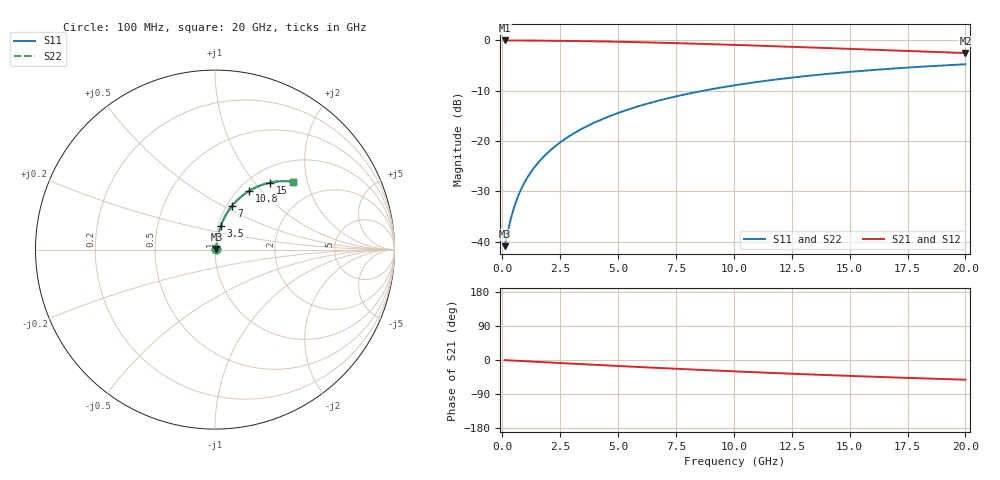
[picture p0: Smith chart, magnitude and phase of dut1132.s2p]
! Touchstone file exported from HFSS 2024.1.0
!  File:  C:/UserFiles/LocalFiles/RDL_TSV_Batchsim/temp_RDL_bottom_1132_1780055305.aedt
!  Generated:  07:50:42 PM May 29, 2026
!  Design:  RDL_bottom
!  Project:  temp_RDL_bottom_1132_1780055305
!  Setup:  Setup1
!  Solution:  Sweep
! Variables:
!  dtsv = 10.80580581um
!  hbump = 3um
!  htsv = 58.58um
!  ldown = 663.97um
!  lrdl = 100um
!  p = 40
!  p1 = 53.54um
!  rhole = 1um
!  t = 450um
!  tdown = 2.59um
!  trdl = 3.915915916um
!  wdown = 11.1um
!  wrdl = 20um
# GHz S MA R 50.000000
! Terminal data exported
! Port[1] = RDL1_T1
! Port[2] = RDL1_T2
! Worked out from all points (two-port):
!   200 points, 100 MHz to 20 GHz, reference 50 ohm
!   highest |S21| = -0.07 dB at 100 MHz (marker M1); lowest = -2.6 dB at 20 GHz (marker M2)
!   |S21| within 3 dB of the highest: start of sweep to end of sweep
!   lowest |S11| = -40.8 dB at 100 MHz (marker M3), VSWR 1.02, Z = 50.8 + j0.405 ohm
!   |S11| at or under -10 dB: start of sweep to 8.716 GHz
!   |S22| runs from -40.8 to -4.8 dB; largest |S21 - S12| = 2e-15
!   S11 on the Smith chart (normalised r, x): 100 MHz: 1.02, +0.01; 3.5 GHz: 1.03, +0.27; 7 GHz: 1.06, +0.55; 10.8 GHz: 1.12, +0.86; 15 GHz: 1.24, +1.21; 20 GHz: 1.44, +1.63
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0.1  0.009084 26.0  0.9918 -0.3  0.9918 -0.3  0.009084 26.0
! Gamma 0 0 0 0
! Port Impedance 50 0 50 0
0.3  0.01459 54.7  0.9916 -1.0  0.9916 -1.0  0.01459 54.7
0.4  0.01805 61.3  0.9914 -1.3  0.9914 -1.3  0.01805 61.3
0.6  0.02535 68.6  0.991 -2.0  0.991 -2.0  0.02535 68.6
0.7  0.02908 70.7  0.9907 -2.3  0.9907 -2.3  0.02908 70.7
0.9  0.03658 73.5  0.9902 -2.9  0.9902 -2.9  0.03658 73.5
1.2  0.04788 75.7  0.9892 -3.9  0.9892 -3.9  0.04788 75.7
1.7  0.06673 77.3  0.9873 -5.5  0.9873 -5.5  0.06673 77.3
2.2  0.0856 77.6  0.9849 -7.1  0.9849 -7.1  0.0856 77.6
2.8  0.1082 77.2  0.9815 -9.0  0.9815 -9.0  0.1082 77.2
3.5  0.1344 76.3  0.9765 -11.2  0.9765 -11.2  0.1344 76.3
4.2  0.1603 75.0  0.9707 -13.4  0.9707 -13.4  0.1603 75.0
5  0.1896 73.4  0.963 -15.8  0.963 -15.8  0.1896 73.4
6.8  0.253 69.3  0.9422 -21.1  0.9422 -21.1  0.2531 69.3
7  0.2599 68.8  0.9396 -21.7  0.9396 -21.7  0.2599 68.8
8.5  0.3094 65.2  0.9192 -25.9  0.9192 -25.9  0.3094 65.2
10.1  0.3585 61.4  0.8955 -30.2  0.8955 -30.2  0.3586 61.4
10.8  0.3788 59.7  0.8847 -32.0  0.8847 -32.0  0.3789 59.7
13.4  0.4472 53.9  0.8438 -38.4  0.8438 -38.4  0.4473 53.9
15  0.4841 50.5  0.8186 -42.0  0.8186 -42.0  0.4842 50.5
16.7  0.5191 47.1  0.7923 -45.6  0.7923 -45.6  0.5192 47.1
20  0.5759 41.0  0.7443 -52.0  0.7443 -52.0  0.576 41.0
